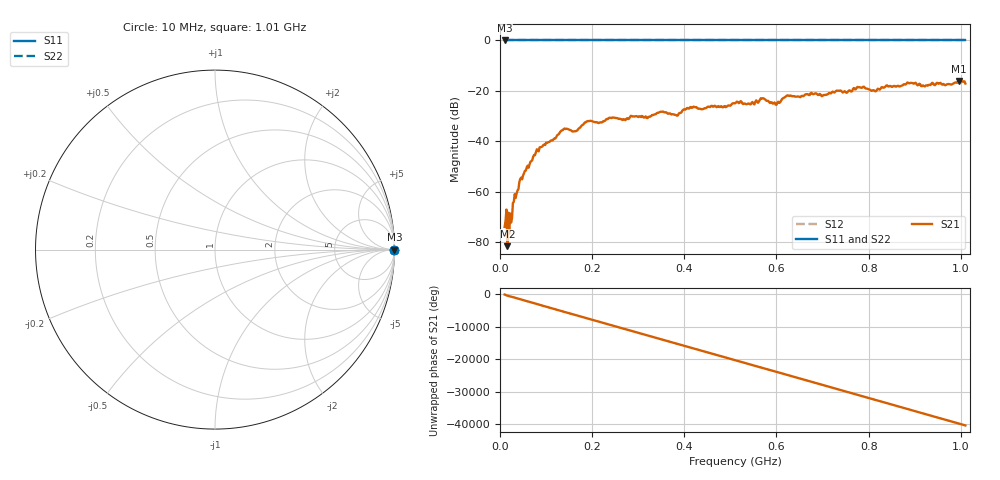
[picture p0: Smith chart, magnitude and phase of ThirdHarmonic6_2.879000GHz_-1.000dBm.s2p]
! 8/17/2025 7:53:37 AM
! C:\ANRITSUVNA\TEMP\TEMP.S2P
! CHANNEL.1
! TR.MEASUREMENT
! RAW.DATA
! RF.CORRECTION.OFF
! AVERAGING.OFF
! IF.BANDWIDTH: 5KHZ
! SWEEPTYPE:  FREQ.SWEEP(Linear)
! Reference Plane Port Info
! PORT:  PORT1  PORT2
! DISTANCE:  0  m  0  m
! TIME:  0  s  0  s
! PHASE.OFFSET:  0  deg.  0  deg.
! LOSS:  0  dB  0  dB
! REF.LOSS:  0  dB  0  dB
! REF.FREQ:  0  Hz  0  Hz
! Power Info
! POWER:  -20  dBm  -20  dBm
! EFF.POWER:  -20  dBm  -20  dBm
! SOURCE.ATTEN:  0  dB  0  dB
! TEST.ATTEN:  0  dB  0  dB
# GHZ S RI R 50.0
! FREQ.GHZ  S11RE  S11IM  S21RE  S21IM  S12RE  S12IM  S22RE  S22IM
!; PortSelection: Port_12
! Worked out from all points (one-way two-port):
!   501 points, 10 MHz to 1.01 GHz, reference 50 ohm
!   highest |S21| = -16.07 dB at 996 MHz (marker M1); lowest = -81.5 dB at 16 MHz (marker M2)
!   lowest |S11| = 0.0 dB at 10 MHz (marker M3)
!   |S11| at or under -10 dB: nowhere
!   |S22| runs from 0.0 to 0.0 dB; largest |S21 - S12| = 1.1
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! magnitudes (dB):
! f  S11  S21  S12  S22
! 10 MHz  0.0  -73.8  0.0  0.0
! 16 MHz  0.0  -81.5  0.0  0.0
! 20 MHz  0.0  -76.5  0.0  0.0
! 32 MHz  0.0  -60.9  0.0  0.0
! 46 MHz  0.0  -54.3  0.0  0.0
! 78 MHz  0.0  -44.3  0.0  0.0
! 136 MHz  0.0  -35.6  0.0  0.0
! 162 MHz  0.0  -36.0  0.0  0.0
! 178 MHz  0.0  -33.6  0.0  0.0
! 192 MHz  0.0  -31.9  0.0  0.0
! 344 MHz  0.0  -28.6  0.0  0.0
! 382 MHz  0.0  -29.6  0.0  0.0
! 410 MHz  0.0  -27.0  0.0  0.0
! 510 MHz  0.0  -24.9  0.0  0.0
! 548 MHz  0.0  -24.4  0.0  0.0
! 570 MHz  0.0  -22.9  0.0  0.0
! 596 MHz  0.0  -24.6  0.0  0.0
! 624 MHz  0.0  -21.7  0.0  0.0
! 678 MHz  0.0  -21.2  0.0  0.0
! 844 MHz  0.0  -18.3  0.0  0.0
! 996 MHz  0.0  -16.1  0.0  0.0
! 1.01 GHz  0.0  -17.1  0.0  0.0
